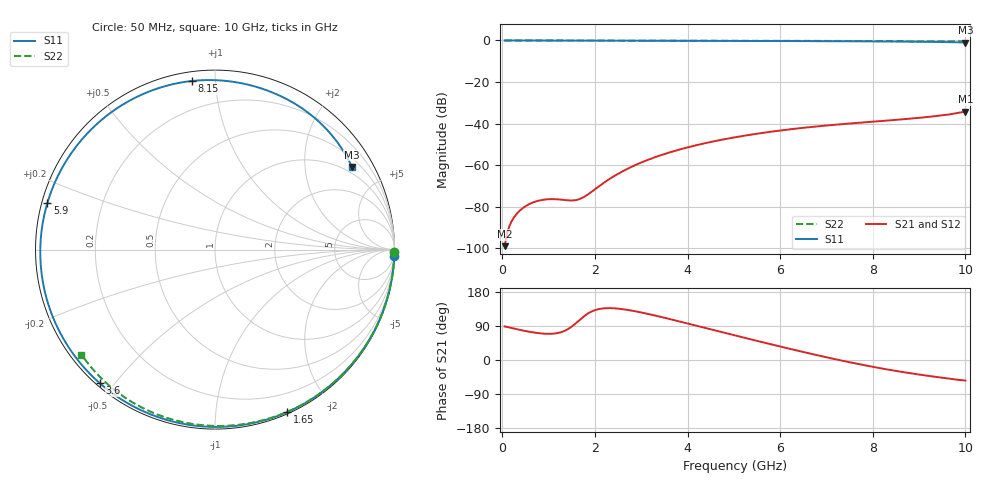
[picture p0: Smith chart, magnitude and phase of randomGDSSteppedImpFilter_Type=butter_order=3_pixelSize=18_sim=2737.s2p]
! freq	dB(S11)	phase(S11)	dB(S12)	phase(S12)
!  dB(S21)	phase(S21)	dB(S22)	phase(S22)
!S-par simulation data
#  GHz  S  DB  R 50
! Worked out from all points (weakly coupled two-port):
!   200 points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, 50 MHz to 10 GHz, reference 50 ohm
!   highest |S21| = -34.25 dB at 10 GHz (marker M1); lowest = -99.1 dB at 50 MHz (marker M2)
!   lowest |S11| = -1.0 dB at 10 GHz (marker M3), VSWR 17.36, Z = 38.5 + j172 ohm
!   |S11| at or under -10 dB: nowhere
!   |S22| runs from -0.5 to 0.0 dB; largest |S21 - S12| = 0
!   S11 on the Smith chart (normalised r, x): 50 MHz: 0, -54; 1.65 GHz: 0.02, -1.54; 3.6 GHz: 0.01, -0.46; 5.9 GHz: 0.02, +0.14; 8.15 GHz: 0.05, +0.87; 10 GHz: 0.77, +3.44
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0.05  -0.00 -2.1  -99.05 88.6  -99.05 88.6  -0.00 -0.8
0.5  -0.03 -20.8  -79.84 76.4  -79.84 76.4  -0.01 -8.2
0.75  -0.04 -31.0  -77.36 71.3  -77.36 71.3  -0.02 -12.2
1.2  -0.06 -48.9  -76.51 71.2  -76.51 71.2  -0.02 -19.5
1.5  -0.07 -60.4  -77.05 88.1  -77.05 88.1  -0.03 -24.3
1.65  -0.08 -66.0  -76.51 103.6  -76.51 103.6  -0.03 -26.7
1.75  -0.08 -69.7  -75.52 114.1  -75.52 114.1  -0.04 -28.3
2.15  -0.10 -84.1  -69.21 135.7  -69.21 135.7  -0.04 -34.6
2.55  -0.11 -97.8  -63.58 134.9  -63.58 134.9  -0.05 -40.8
3.4  -0.14 -124.8  -55.43 114.5  -55.43 114.5  -0.07 -53.8
3.6  -0.15 -130.8  -54.00 108.6  -54.00 108.6  -0.08 -56.8
4.35  -0.18 -152.5  -49.61 85.7  -49.61 85.7  -0.10 -67.8
5.05  -0.22 -172.0  -46.53 64.1  -46.53 64.1  -0.12 -77.8
5.9  -0.27 164.5  -43.66 38.5  -43.66 38.5  -0.15 -89.5
6.7  -0.33 142.0  -41.60 15.4  -41.60 15.4  -0.19 -100.1
7.5  -0.39 118.4  -39.99 -5.9  -39.99 -5.9  -0.24 -110.5
8.15  -0.46 97.9  -38.86 -21.4  -38.86 -21.4  -0.29 -118.7
8.35  -0.49 91.4  -38.51 -25.7  -38.51 -25.7  -0.31 -121.3
8.8  -0.58 76.2  -37.67 -34.7  -37.67 -34.7  -0.35 -126.9
9.2  -0.66 62.0  -36.81 -41.9  -36.81 -41.9  -0.39 -131.9
9.6  -0.78 46.9  -35.77 -48.4  -35.77 -48.4  -0.43 -136.8
10  -1.00 31.1  -34.25 -54.2  -34.25 -54.2  -0.48 -141.8
